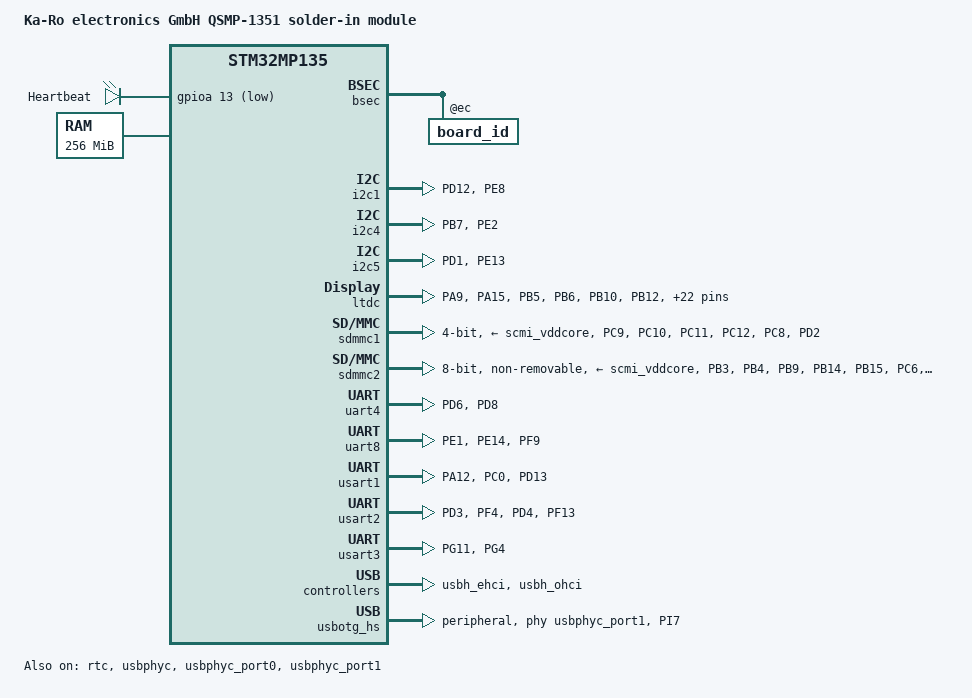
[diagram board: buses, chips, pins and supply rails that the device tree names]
// SPDX-License-Identifier: (GPL-2.0-or-later OR BSD-3-Clause)
/*
 * Based on STM32CubeMX tool generated source.
 *
 * Copyright (C) 2024 Markus Bauer <MB@KARO-electronics.de>
 */

/dts-v1/;

#include <dt-bindings/pinctrl/stm32-pinfunc.h>
#include <dt-bindings/gpio/gpio.h>

#include "stm32mp135.dtsi"
#include "stm32mp13xc.dtsi"

/ {
	model = "Ka-Ro electronics GmbH QSMP-1351 solder-in module";
	compatible = "st,stm32mp135c-qsmp-1351", "st,stm32mp135";

	aliases {
		serial0 = &uart4;
		mmc0 = &sdmmc2;
		mmc1 = &sdmmc1;
		usb0 = &usbotg_hs;
	};

	chosen {
		#address-cells = <1>;
		#size-cells = <1>;
		ranges;
		stdout-path = "serial0:115200n8";
	};

	leds {
		compatible = "gpio-leds";

		module_led: module-led {
			gpios = <&gpioa 13 GPIO_ACTIVE_LOW>;
			label = "Heartbeat";
			default-state = "on";
			linux,default-trigger = "heartbeat";
		};
	};

	memory@c0000000 {
		device_type = "memory";
		reg = <0xc0000000 0x10000000>;
	};

	reserved-memory {
		#address-cells = <1>;
		#size-cells = <1>;
		ranges;

		optee@ce000000{
			reg = <0xce000000 0x2000000>;
			no-map;
		};
	};
};

&bsec {
	status = "okay";

	board_id: board_id@ec {
		reg = <0xec 0x4>;
		st,non-secure-otp;
	};
};

&i2c1 {
	pinctrl-names = "default", "sleep";
	pinctrl-0 = <&i2c1_pins>;
	pinctrl-1 = <&i2c1_sleep_pins>;
	status = "okay";
};

&i2c4 {
	pinctrl-names = "default", "sleep";
	pinctrl-0 = <&i2c4_pins>;
	pinctrl-1 = <&i2c4_sleep_pins>;
	status = "okay";
};

&i2c5 {
	pinctrl-names = "default", "sleep";
	pinctrl-0 = <&i2c5_pins>;
	pinctrl-1 = <&i2c5_sleep_pins>;
	status = "okay";
};

&ltdc {
	pinctrl-names = "default", "sleep";
	pinctrl-0 = <&ltdc_pins>;
	pinctrl-1 = <&ltdc_sleep_pins>;
	status = "okay";
};

&rtc {
	status = "okay";
};

&sdmmc1 {
	pinctrl-names = "default", "opendrain", "sleep";
	pinctrl-0 = <&sdmmc1_pins>;
	pinctrl-1 = <&sdmmc1_opendrain_pins>;
	pinctrl-2 = <&sdmmc1_sleep_pins>;
	st,neg-edge;
	bus-width = <4>;
	vmmc-supply = <&scmi_vddcore>;
	vqmmc-supply = <&scmi_vddcore>;
	status = "okay";
};

&sdmmc2 {
	pinctrl-names = "default", "opendrain", "sleep";
	pinctrl-0 = <&sdmmc2_pins>;
	pinctrl-1 = <&sdmmc2_opendrain_pins>;
	pinctrl-2 = <&sdmmc2_sleep_pins>;
	non-removable;
	no-sd;
	no-sdio;
	st,neg-edge;
	bus-width = <8>;
	vmmc-supply = <&scmi_vddcore>;
	vqmmc-supply = <&scmi_vddcore>;
	mmc-ddr-3_3v;
	status = "okay";
};

&uart4 {
	pinctrl-names = "default", "sleep";
	pinctrl-0 = <&uart4_pins>;
	pinctrl-1 = <&uart4_sleep_pins>;
	status = "okay";
};

&uart8 {
	pinctrl-names = "default", "sleep";
	pinctrl-0 = <&uart8_pins>;
	pinctrl-1 = <&uart8_sleep_pins>;
	status = "okay";
};

&usart1 {
	pinctrl-names = "default", "sleep";
	pinctrl-0 = <&usart1_pins>;
	pinctrl-1 = <&usart1_sleep_pins>;
	status = "okay";
};

&usart2 {
	pinctrl-names = "default", "sleep";
	pinctrl-0 = <&usart2_pins>;
	pinctrl-1 = <&usart2_sleep_pins>;
	status = "okay";
};

&usart3 {
	pinctrl-names = "default", "sleep";
	pinctrl-0 = <&usart3_pins>;
	pinctrl-1 = <&usart3_sleep_pins>;
	status = "okay";
};

&usbh_ehci {
	status = "okay";
};

&usbh_ohci {
	status = "okay";
};

&usbotg_hs {
	pinctrl-names = "default", "sleep";
	pinctrl-0 = <&usb_otg_hs_pins>;
	pinctrl-1 = <&usb_otg_hs_sleep_pins>;
	phys = <&usbphyc_port1 0>;
	phy-names = "usb2-phy";
	dr_mode = "peripheral";
	status = "okay";
};

&usbphyc {
	status = "okay";
};

&usbphyc_port0 {
	phy-supply = <&scmi_vddcore>;
	status = "okay";
};

&usbphyc_port1 {
	phy-supply = <&scmi_vddcore>;
	status = "okay";
};

&scmi_regu {
	scmi_vddcpu: voltd-vddcpu {
		reg = <VOLTD_SCMI_REGU0>;
		regulator-name = "vddcpu";
	};

	scmi_vddcore: voltd-vddcore {
		reg = <VOLTD_SCMI_REGU1>;
		regulator-name = "vdd";
	};
};

&pinctrl {
	i2c1_pins: i2c1-0 {
		pins {
			pinmux = <
				  STM32_PINMUX('D', 12, AF5) /* I2C1_SCL */
				  STM32_PINMUX('E', 8, AF5)  /* I2C1_SDA */
			>;
			bias-disable;
			drive-open-drain;
			slew-rate = <0>;
		};
	};

	i2c1_sleep_pins: i2c1_sleep-0 {
		pins {
			pinmux = <
				  STM32_PINMUX('D', 12, ANALOG) /* I2C1_SCL */
				  STM32_PINMUX('E', 8, ANALOG)  /* I2C1_SDA */
			>;
		};
	};

	i2c4_pins: i2c4-0 {
		pins {
			pinmux = <
				  STM32_PINMUX('B', 7, AF6) /* I2C4_SDA */
				  STM32_PINMUX('E', 2, AF4) /* I2C4_SCL */
			>;
			bias-disable;
			drive-open-drain;
			slew-rate = <0>;
		};
	};

	i2c4_sleep_pins: i2c4_sleep-0 {
		pins {
			pinmux = <
				  STM32_PINMUX('B', 7, ANALOG) /* I2C4_SDA */
				  STM32_PINMUX('E', 2, ANALOG) /* I2C4_SCL */
			>;
		};
	};

	i2c5_pins: i2c5-0 {
		pins {
			pinmux = <
				  STM32_PINMUX('D', 1, AF4)  /* I2C5_SCL */
				  STM32_PINMUX('E', 13, AF4) /* I2C5_SDA */
			>;
			bias-disable;
			drive-open-drain;
			slew-rate = <0>;
		};
	};

	i2c5_sleep_pins: i2c5_sleep-0 {
		pins {
			pinmux = <
				  STM32_PINMUX('D', 1, ANALOG)  /* I2C5_SCL */
				  STM32_PINMUX('E', 13, ANALOG) /* I2C5_SDA */
			>;
		};
	};

	ltdc_pins: ltdc-0 {
		pins1 {
			pinmux = <
				  STM32_PINMUX('A', 9, AF14)	/* LTDC_R6 */
				  STM32_PINMUX('A', 15, AF11)	/* LTDC_G7 */
				  STM32_PINMUX('B', 5, AF14)	/* LTDC_DE */
				  STM32_PINMUX('B', 6, AF7)	/* LTDC_B6 */
				  STM32_PINMUX('B', 10, AF14)	/* LTDC_R3 */
				  STM32_PINMUX('B', 12, AF14)	/* LTDC_VSYNC */
				  STM32_PINMUX('D', 5, AF13)	/* LTDC_B0 */
				  STM32_PINMUX('D', 10, AF14)	/* LTDC_B2 */
				  STM32_PINMUX('D', 11, AF11)	/* LTDC_R7 */
				  STM32_PINMUX('D', 14, AF14)	/* LTDC_R4 */
				  STM32_PINMUX('D', 15, AF14)	/* LTDC_B5 */
				  STM32_PINMUX('E', 7, AF14)	/* LTDC_R5 */
				  STM32_PINMUX('E', 11, AF9)	/* LTDC_R0 */
				  STM32_PINMUX('E', 12, AF14)	/* LTDC_G6 */
				  STM32_PINMUX('E', 15, AF14)	/* LTDC_B7 */
				  STM32_PINMUX('F', 1, AF14)	/* LTDC_G1 */
				  STM32_PINMUX('F', 2, AF14)	/* LTDC_B3 */
				  STM32_PINMUX('F', 3, AF14)	/* LTDC_G3 */
				  STM32_PINMUX('F', 5, AF9)	/* LTDC_G0 */
				  STM32_PINMUX('G', 0, AF14)	/* LTDC_G5 */
				  STM32_PINMUX('G', 5, AF11)	/* LTDC_G4 */
				  STM32_PINMUX('G', 7, AF11)	/* LTDC_R1 */
				  STM32_PINMUX('G', 8, AF7)	/* LTDC_B1 */
				  STM32_PINMUX('H', 8, AF14)	/* LTDC_R2 */
				  STM32_PINMUX('H', 10, AF13)	/* LTDC_HSYNC */
				  STM32_PINMUX('H', 13, AF14)	/* LTDC_G2 */
				  STM32_PINMUX('H', 14, AF11)	/* LTDC_B4 */
			>;
			bias-disable;
			drive-push-pull;
			slew-rate = <0>;
		};

		pins2 {
			pinmux = <STM32_PINMUX('D', 9, AF13)>; /* LTDC_CLK */
			bias-disable;
			drive-push-pull;
			slew-rate = <1>;
		};
	};

	ltdc_sleep_pins: ltdc_sleep-0 {
		pins {
			pinmux = <
				  STM32_PINMUX('A', 9, ANALOG)	/* LTDC_R6 */
				  STM32_PINMUX('A', 15, ANALOG)	/* LTDC_G7 */
				  STM32_PINMUX('B', 5, ANALOG)	/* LTDC_DE */
				  STM32_PINMUX('B', 6, ANALOG)	/* LTDC_B6 */
				  STM32_PINMUX('B', 10, ANALOG)	/* LTDC_R3 */
				  STM32_PINMUX('B', 12, ANALOG)	/* LTDC_VSYNC */
				  STM32_PINMUX('D', 5, ANALOG)	/* LTDC_B0 */
				  STM32_PINMUX('D', 9, ANALOG)	/* LTDC_CLK */
				  STM32_PINMUX('D', 10, ANALOG)	/* LTDC_B2 */
				  STM32_PINMUX('D', 11, ANALOG)	/* LTDC_R7 */
				  STM32_PINMUX('D', 14, ANALOG)	/* LTDC_R4 */
				  STM32_PINMUX('D', 15, ANALOG)	/* LTDC_B5 */
				  STM32_PINMUX('E', 7, ANALOG)	/* LTDC_R5 */
				  STM32_PINMUX('E', 11, ANALOG)	/* LTDC_R0 */
				  STM32_PINMUX('E', 12, ANALOG)	/* LTDC_G6 */
				  STM32_PINMUX('E', 15, ANALOG)	/* LTDC_B7 */
				  STM32_PINMUX('F', 1, ANALOG)	/* LTDC_G1 */
				  STM32_PINMUX('F', 2, ANALOG)	/* LTDC_B3 */
				  STM32_PINMUX('F', 3, ANALOG)	/* LTDC_G3 */
				  STM32_PINMUX('F', 5, ANALOG)	/* LTDC_G0 */
				  STM32_PINMUX('G', 0, ANALOG)	/* LTDC_G5 */
				  STM32_PINMUX('G', 5, ANALOG)	/* LTDC_G4 */
				  STM32_PINMUX('G', 7, ANALOG)	/* LTDC_R1 */
				  STM32_PINMUX('G', 8, ANALOG)	/* LTDC_B1 */
				  STM32_PINMUX('H', 8, ANALOG)	/* LTDC_R2 */
				  STM32_PINMUX('H', 10, ANALOG)	/* LTDC_HSYNC */
				  STM32_PINMUX('H', 13, ANALOG)	/* LTDC_G2 */
				  STM32_PINMUX('H', 14, ANALOG)	/* LTDC_B4 */
			>;
		};
	};

	sdmmc1_pins: sdmmc1-0 {
		pins1 {
			pinmux = <
				  STM32_PINMUX('C', 9, AF12)	/* SDMMC1_D1 */
				  STM32_PINMUX('C', 10, AF12)	/* SDMMC1_D2 */
				  STM32_PINMUX('C', 11, AF12)	/* SDMMC1_D3 */
			>;
			bias-disable;
			drive-push-pull;
			slew-rate = <1>;
		};

		pins2 {
			pinmux = <STM32_PINMUX('C', 12, AF12)>; /* SDMMC1_CK */
			bias-disable;
			drive-push-pull;
			slew-rate = <3>;
		};

		pins3 {
			pinmux = <
				  STM32_PINMUX('C', 8, AF12) /* SDMMC1_D0 */
				  STM32_PINMUX('D', 2, AF12) /* SDMMC1_CMD */
			>;
			bias-pull-up;
			drive-push-pull;
			slew-rate = <1>;
		};
	};

	sdmmc1_opendrain_pins: sdmmc1_opendrain-0 {
		pins1 {
			pinmux = <
				  STM32_PINMUX('C', 9, AF12)	/* SDMMC1_D1 */
				  STM32_PINMUX('C', 10, AF12)	/* SDMMC1_D2 */
				  STM32_PINMUX('C', 11, AF12)	/* SDMMC1_D3 */
			>;
			bias-disable;
			drive-push-pull;
			slew-rate = <1>;
		};

		pins2 {
			pinmux = <STM32_PINMUX('C', 12, AF12)>; /* SDMMC1_CK */
			bias-disable;
			drive-push-pull;
			slew-rate = <3>;
		};

		pins3 {
			pinmux = <STM32_PINMUX('C', 8, AF12)>; /* SDMMC1_D0 */
			bias-pull-up;
			drive-push-pull;
			slew-rate = <1>;
		};

		pins4 {
			pinmux = <STM32_PINMUX('D', 2, AF12)>; /* SDMMC1_CMD */
			bias-pull-up;
			drive-open-drain;
			slew-rate = <1>;
		};
	};

	sdmmc1_sleep_pins: sdmmc1_sleep-0 {
		pins {
			pinmux = <
				  STM32_PINMUX('C', 8, ANALOG)	/* SDMMC1_D0 */
				  STM32_PINMUX('C', 9, ANALOG)	/* SDMMC1_D1 */
				  STM32_PINMUX('C', 10, ANALOG)	/* SDMMC1_D2 */
				  STM32_PINMUX('C', 11, ANALOG)	/* SDMMC1_D3 */
				  STM32_PINMUX('C', 12, ANALOG)	/* SDMMC1_CK */
				  STM32_PINMUX('D', 2, ANALOG)	/* SDMMC1_CMD */
			>;
		};
	};

	sdmmc2_pins: sdmmc2-0 {
		pins1 {
			pinmux = <
				  STM32_PINMUX('B', 3, AF10)	/* SDMMC2_D2 */
				  STM32_PINMUX('B', 4, AF10)	/* SDMMC2_D3 */
				  STM32_PINMUX('B', 9, AF10)	/* SDMMC2_D5 */
				  STM32_PINMUX('B', 14, AF10)	/* SDMMC2_D0 */
				  STM32_PINMUX('B', 15, AF10)	/* SDMMC2_D1 */
				  STM32_PINMUX('C', 6, AF10)	/* SDMMC2_D6 */
				  STM32_PINMUX('C', 7, AF10)	/* SDMMC2_D7 */
				  STM32_PINMUX('F', 0, AF10)	/* SDMMC2_D4 */
				  STM32_PINMUX('G', 6, AF10)	/* SDMMC2_CMD */
			>;
			bias-disable;
			drive-push-pull;
			slew-rate = <1>;
		};

		pins2 {
			pinmux = <STM32_PINMUX('E', 3, AF10)>; /* SDMMC2_CK */
			bias-disable;
			drive-push-pull;
			slew-rate = <3>;
		};
	};

	sdmmc2_opendrain_pins: sdmmc2_opendrain-0 {
		pins1 {
			pinmux = <
				  STM32_PINMUX('B', 3, AF10)	/* SDMMC2_D2 */
				  STM32_PINMUX('B', 4, AF10)	/* SDMMC2_D3 */
				  STM32_PINMUX('B', 9, AF10)	/* SDMMC2_D5 */
				  STM32_PINMUX('B', 14, AF10)	/* SDMMC2_D0 */
				  STM32_PINMUX('B', 15, AF10)	/* SDMMC2_D1 */
				  STM32_PINMUX('C', 6, AF10)	/* SDMMC2_D6 */
				  STM32_PINMUX('C', 7, AF10)	/* SDMMC2_D7 */
				  STM32_PINMUX('F', 0, AF10)	/* SDMMC2_D4 */
			>;
			bias-disable;
			drive-push-pull;
			slew-rate = <1>;
		};

		pins2 {
			pinmux = <STM32_PINMUX('E', 3, AF10)>; /* SDMMC2_CK */
			bias-disable;
			drive-push-pull;
			slew-rate = <3>;
		};

		pins3 {
			pinmux = <STM32_PINMUX('G', 6, AF10)>; /* SDMMC2_CMD */
			bias-disable;
			drive-open-drain;
			slew-rate = <1>;
		};
	};

	sdmmc2_sleep_pins: sdmmc2_sleep-0 {
		pins {
			pinmux = <
				  STM32_PINMUX('B', 3, ANALOG)	/* SDMMC2_D2 */
				  STM32_PINMUX('B', 4, ANALOG)	/* SDMMC2_D3 */
				  STM32_PINMUX('B', 9, ANALOG)	/* SDMMC2_D5 */
				  STM32_PINMUX('B', 14, ANALOG)	/* SDMMC2_D0 */
				  STM32_PINMUX('B', 15, ANALOG)	/* SDMMC2_D1 */
				  STM32_PINMUX('C', 6, ANALOG)	/* SDMMC2_D6 */
				  STM32_PINMUX('C', 7, ANALOG)	/* SDMMC2_D7 */
				  STM32_PINMUX('E', 3, ANALOG)	/* SDMMC2_CK */
				  STM32_PINMUX('F', 0, ANALOG)	/* SDMMC2_D4 */
				  STM32_PINMUX('G', 6, ANALOG)	/* SDMMC2_CMD */
			>;
		};
	};

	uart4_pins: uart4-0 {
		pins1 {
			pinmux = <STM32_PINMUX('D', 6, AF8)>; /* UART4_TX */
			bias-disable;
			drive-push-pull;
			slew-rate = <0>;
		};

		pins2 {
			pinmux = <STM32_PINMUX('D', 8, AF8)>; /* UART4_RX */
			bias-disable;
		};
	};

	uart4_sleep_pins: uart4_sleep-0 {
		pins {
			pinmux = <
				  STM32_PINMUX('D', 6, ANALOG) /* UART4_TX */
				  STM32_PINMUX('D', 8, ANALOG) /* UART4_RX */
			>;
		};
	};

	uart8_pins: uart8-0 {
		pins1 {
			pinmux = <
				  STM32_PINMUX('E', 1, AF8)  /* UART8_TX */
				  STM32_PINMUX('E', 14, AF8) /* UART8_DE */
			>;
			bias-disable;
			drive-push-pull;
			slew-rate = <0>;
		};

		pins2 {
			pinmux = <STM32_PINMUX('F', 9, AF8)>; /* UART8_RX */
			bias-disable;
		};
	};

	uart8_sleep_pins: uart8_sleep-0 {
		pins {
			pinmux = <
				  STM32_PINMUX('E', 1, ANALOG)	/* UART8_TX */
				  STM32_PINMUX('E', 14, ANALOG)	/* UART8_DE */
				  STM32_PINMUX('F', 9, ANALOG)	/* UART8_RX */
			>;
		};
	};

	usart1_pins: usart1-0 {
		pins1 {
			pinmux = <
				  STM32_PINMUX('A', 12, AF7) /* USART1_DE */
				  STM32_PINMUX('C', 0, AF7)  /* USART1_TX */
			>;
			bias-disable;
			drive-push-pull;
			slew-rate = <0>;
		};

		pins2 {
			pinmux = <STM32_PINMUX('D', 13, AF7)>; /* USART1_RX */
			bias-disable;
		};
	};

	usart1_sleep_pins: usart1_sleep-0 {
		pins {
			pinmux = <
				  STM32_PINMUX('A', 12, ANALOG)	/* USART1_DE */
				  STM32_PINMUX('C', 0, ANALOG)	/* USART1_TX */
				  STM32_PINMUX('D', 13, ANALOG)	/* USART1_RX */
			>;
		};
	};

	usart2_pins: usart2-0 {
		pins1 {
			pinmux = <
				  STM32_PINMUX('D', 3, AF3) /* USART2_CTS */
				  STM32_PINMUX('F', 4, AF3) /* USART2_RX */
			>;
			bias-disable;
		};

		pins2 {
			pinmux = <
				  STM32_PINMUX('D', 4, AF3)  /* USART2_RTS */
				  STM32_PINMUX('F', 13, AF7) /* USART2_TX */
			>;
			bias-disable;
			drive-push-pull;
			slew-rate = <0>;
		};
	};

	usart2_sleep_pins: usart2_sleep-0 {
		pins {
			pinmux = <
				  STM32_PINMUX('D', 3, ANALOG)	/* USART2_CTS */
				  STM32_PINMUX('D', 4, ANALOG)	/* USART2_RTS */
				  STM32_PINMUX('F', 4, ANALOG)	/* USART2_RX */
				  STM32_PINMUX('F', 13, ANALOG)	/* USART2_TX */
			>;
		};
	};

	usart3_pins: usart3-0 {
		pins1 {
			pinmux = <STM32_PINMUX('G', 11, AF7)>; /* USART3_TX */
			bias-disable;
			drive-push-pull;
			slew-rate = <0>;
		};

		pins2 {
			pinmux = <STM32_PINMUX('G', 4, AF8)>; /* USART3_RX */
			bias-disable;
		};
	};

	usart3_sleep_pins: usart3_sleep-0 {
		pins {
			pinmux = <
				  STM32_PINMUX('G', 4, ANALOG)  /* USART3_RX */
				  STM32_PINMUX('G', 11, ANALOG) /* USART3_TX */
			>;
		};
	};

	usb_otg_hs_pins: usb_otg_hs-0 {
		pins {
			pinmux = <STM32_PINMUX('I', 7, ANALOG)>; /* USB_OTG_HS_VBUS */
		};
	};

	usb_otg_hs_sleep_pins: usb_otg_hs_sleep-0 {
		pins {
			pinmux = <STM32_PINMUX('I', 7, ANALOG)>; /* USB_OTG_HS_VBUS */
		};
	};
};
